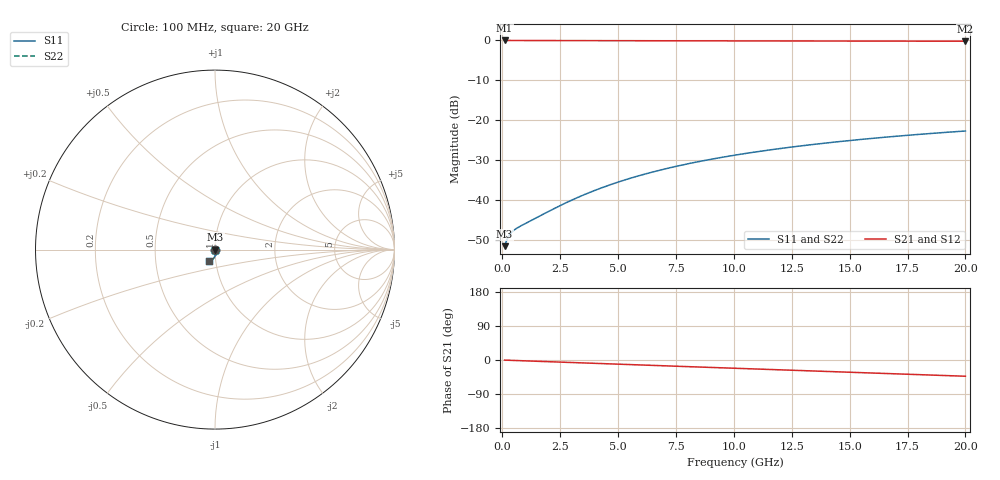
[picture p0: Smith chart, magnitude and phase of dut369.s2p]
! Touchstone file exported from HFSS 2026.1.0
!  File:  C:/ffzhzh/LocalFiles/Ansys_Project_Files/temp_train_BSMRDL_369_1783011748_55676.aedt
!  Generated:  01:03:40 AM Jul  3, 2026
!  Design:  BSMRDL
!  Project:  temp_train_BSMRDL_369_1783011748_55676
! Variables:
!  h_bsmrdl = 4.27um
!  h_ox = 20um
!  h_rdl = 5um
!  h_sub = 80um
!  h_tmrdl = 5um
!  h_tsv = 80um
!  h_via = 3um
!  l_bsmrdl = 761.69um
!  l_sub = 1161.69um
!  l_tmrdl = 200um
!  m_sub = 200um
!  pitch = 33.2um
!  r_tsv = 6um
!  s_tmrdl = 10um
!  w_bsmrdl = 29.21um
!  w_sub = 500um
!  w_tmrdl = 12um
!  x_tsv_center1 = 206um
!  x_tsv_center2 = 996.9um
!  x_tsv_center3 = 1208.9um
!  x_tsv_center4 = 1999.8um
!  x_tsv_center5 = 2211.8um
!  x_tsv_center6 = 3002.7um
# GHz S MA R 50.000000
! Terminal data exported
! Port[1] = BSM_RDL1_1_T1
! Port[2] = BSM_RDL1_1_T2
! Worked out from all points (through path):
!   200 points, 100 MHz to 20 GHz, reference 50 ohm
!   highest |S21| = -0.02 dB at 100 MHz (marker M1); lowest = -0.2 dB at 20 GHz (marker M2)
!   group delay of S21, straight-line fit = 5.93 ps
!   lowest |S11| = -51.7 dB at 100 MHz (marker M3), VSWR 1.01, Z = 50.3 + j0.0493 ohm
!   |S11| at or under -10 dB: start of sweep to end of sweep
!   |S22| runs from -51.7 to -22.8 dB; largest |S21 - S12| = 2.1e-15
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0.1  0.002611 10.8  0.9974 -0.3  0.9974 -0.3  0.002611 10.8
! Gamma 0 0 0 0
! Port Impedance 50 0 50 0
0.2  0.003144 11.7  0.9969 -0.5  0.9969 -0.5  0.003144 11.7
0.3  0.003586 7.7  0.9965 -0.7  0.9965 -0.7  0.003586 7.7
0.4  0.003906 2.7  0.9961 -1.0  0.9961 -1.0  0.003906 2.7
0.5  0.004147 -2.1  0.9959 -1.2  0.9959 -1.2  0.004146 -2.1
0.6  0.004345 -6.6  0.9957 -1.4  0.9957 -1.4  0.004344 -6.6
0.9  0.00486 -17.8  0.9953 -2.1  0.9953 -2.1  0.00486 -17.8
2.3  0.007897 -46.3  0.994 -5.2  0.994 -5.2  0.007895 -46.3
2.9  0.009584 -52.9  0.9933 -6.5  0.9933 -6.5  0.009582 -52.9
3.5  0.01144 -58.0  0.9926 -7.8  0.9926 -7.8  0.01144 -58.0
4.3  0.01413 -63.4  0.9916 -9.5  0.9916 -9.5  0.01413 -63.4
5.1  0.017 -68.0  0.9905 -11.3  0.9905 -11.3  0.017 -68.0
5.9  0.02 -72.1  0.9895 -13.0  0.9895 -13.0  0.01999 -72.1
6.8  0.02346 -76.2  0.9884 -14.9  0.9884 -14.9  0.02345 -76.2
7.6  0.0266 -79.6  0.9874 -16.6  0.9874 -16.6  0.02658 -79.6
8.4  0.02975 -82.8  0.9865 -18.3  0.9865 -18.3  0.02974 -82.8
10.1  0.03648 -88.9  0.9847 -21.9  0.9847 -21.9  0.03646 -88.9
11.7  0.04275 -94.2  0.9831 -25.3  0.9831 -25.3  0.04272 -94.2
13.4  0.04929 -99.4  0.9815 -28.9  0.9815 -28.9  0.04926 -99.4
15  0.05531 -104.0  0.98 -32.3  0.98 -32.3  0.05527 -104.0
16.7  0.06151 -108.7  0.9785 -35.9  0.9785 -35.9  0.06146 -108.6
20  0.07286 -117.3  0.9755 -42.9  0.9755 -42.9  0.07281 -117.2
